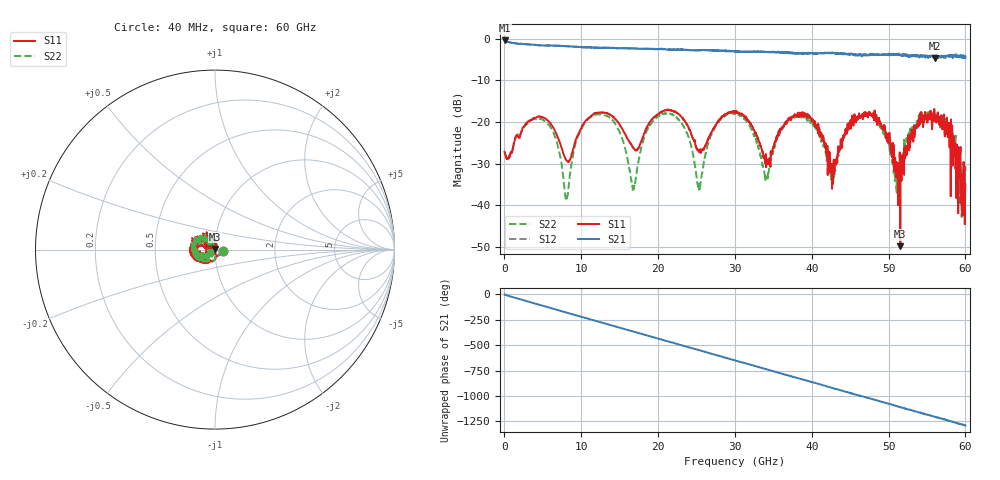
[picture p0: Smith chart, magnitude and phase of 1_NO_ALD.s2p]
! File created by 'SoftPlot +Plus+ Measurement Management Software'
! SoftPlot +Plus+ Measurement Management Software
! Start 40.000000 MHz  Stop 60.000000 GHz  Points 1601
# MHZ S RI R 50
! S-Parameter data, F S11 S21 S12 S22
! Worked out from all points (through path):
!   1601 points, 40 MHz to 60 GHz, reference 50 ohm
!   highest |S21| = -0.41 dB at 40 MHz (marker M1); lowest = -4.7 dB at 55.99 GHz (marker M2)
!   group delay of S21, straight-line fit = 59.5 ps
!   lowest |S11| = -49.8 dB at 51.53 GHz (marker M3), VSWR 1.01, Z = 50 + j0.319 ohm
!   |S11| at or under -10 dB: start of sweep to end of sweep
!   |S22| runs from -42.8 to -17.4 dB; largest |S21 - S12| = 0.052
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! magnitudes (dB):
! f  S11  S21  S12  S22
! 40 MHz  -27.2  -0.4  -0.4  -27.3
! 5.137 GHz  -19.0  -1.6  -1.6  -19.6
! 6.785 GHz  -22.9  -1.7  -1.7  -24.6
! 8.097 GHz  -29.2  -1.8  -1.8  -38.8
! 10.05 GHz  -21.4  -2.0  -2.0  -21.7
! 13.98 GHz  -18.5  -2.2  -2.2  -19.3
! 16.79 GHz  -26.2  -2.3  -2.3  -36.4
! 20.05 GHz  -18.0  -2.5  -2.5  -18.6
! 23.2 GHz  -19.2  -2.7  -2.6  -20.7
! 25.34 GHz  -27.2  -2.8  -2.8  -36.3
! 27.28 GHz  -21.5  -2.8  -2.8  -21.7
! 30.02 GHz  -17.6  -2.9  -2.9  -17.9
! 34.1 GHz  -29.5  -3.2  -3.2  -34.0
! 36.84 GHz  -19.6  -3.4  -3.4  -19.7
! 40.03 GHz  -19.3  -3.5  -3.5  -20.2
! 42.65 GHz  -36.0  -3.3  -3.4  -34.3
! 45.57 GHz  -18.1  -4.0  -3.8  -20.0
! 50.03 GHz  -25.0  -3.9  -3.8  -24.3
! 51.53 GHz  -49.8  -3.9  -3.7  -34.0
! 53.74 GHz  -21.4  -4.0  -3.9  -20.8
! 55.99 GHz  -19.0  -4.7  -4.5  -18.5
! 60 GHz  -35.0  -4.4  -4.3  -30.5
